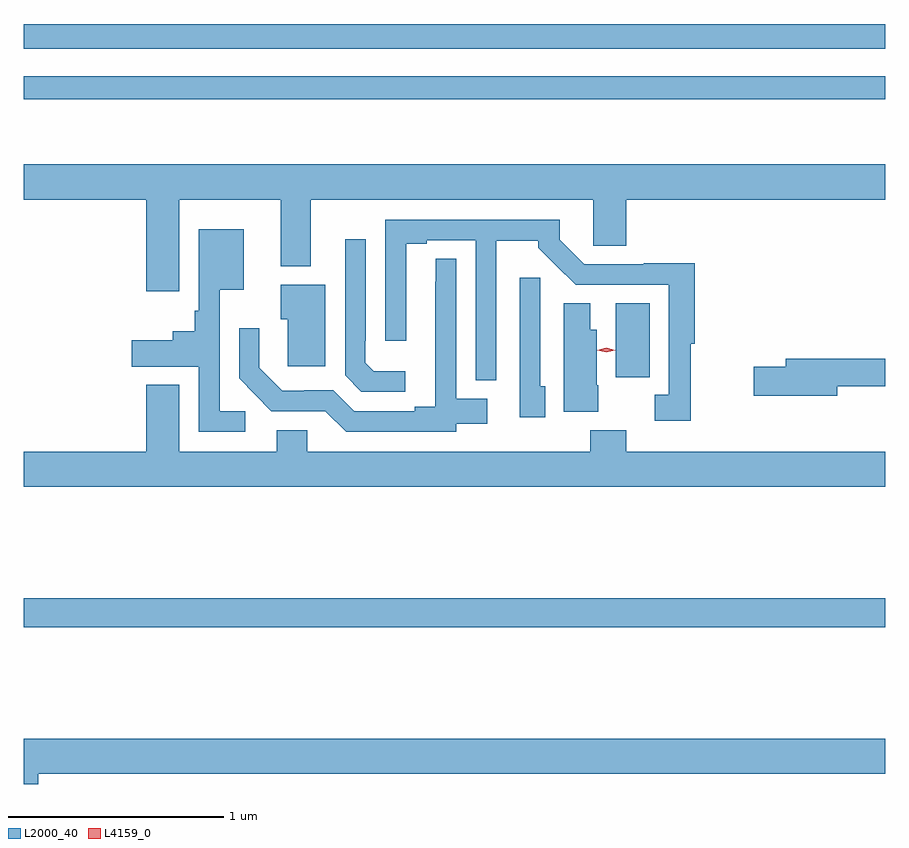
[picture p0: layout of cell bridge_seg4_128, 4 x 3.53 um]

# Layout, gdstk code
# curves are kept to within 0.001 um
import gdstk
lib = gdstk.Library(unit=1e-6, precision=1e-09)
def R(c, l, rs):  # rectangles x0, y0, x1, y1
    for r in rs: c.add(gdstk.rectangle(r[:2], r[2:], *l))
def P(c, l, *ps):  # polygons
    for p in ps: c.add(gdstk.Polygon(p, *l))
L2000_40 = (2000, 40)
L4159_0 = (4159, 0)

bridge_seg4_128 = lib.new_cell('bridge_seg4_128')
R(bridge_seg4_128, L2000_40, [(337.55,765.532,341.55,765.668), (340.298,766.692,340.456,767.036), (337.55,767.982,341.55,768.09), (337.55,768.216,341.55,768.332)])
P(bridge_seg4_128, L2000_40, [(338.272,767.516),(338.744,767.516),(338.744,767.207),(338.884,767.207),(338.884,767.516),(340.194,767.516),(340.194,767.302),(340.346,767.302),(340.346,767.516),(341.55,767.516),(341.55,767.68),(337.55,767.68),(337.55,767.516),(338.12,767.516),(338.12,767.091),(338.272,767.091)],
  [(340.646,766.848),(340.666,766.848),(340.666,767.222),(340.429,767.222),(340.429,767.217),(340.152,767.217),(340.039,767.331),(340.039,767.424),(339.228,767.424),(339.228,766.863),(339.325,766.863),(339.325,767.313),(339.421,767.313),(339.421,767.328),(339.648,767.328),(339.648,766.679),(339.744,766.679),(339.744,767.327),(339.938,767.327),(339.938,767.293),(340.112,767.121),(340.545,767.121),(340.545,766.611),(340.479,766.611),(340.479,766.491),(340.646,766.491)],
  [(338.58,766.536),(338.46,766.536),(338.46,767.099),(338.572,767.099),(338.572,767.38),(338.364,767.38),(338.364,767.002),(338.344,767.002),(338.344,766.906),(338.243,766.906),(338.243,766.864),(338.052,766.864),(338.052,766.742),(338.364,766.742),(338.364,766.44),(338.58,766.44)],
  [(339.322,766.721),(339.176,766.721),(339.135,766.761),(339.135,766.861),(339.138,766.861),(339.138,767.332),(339.042,767.332),(339.042,766.701),(339.117,766.626),(339.322,766.626)],
  [(339.558,766.478),(339.703,766.478),(339.703,766.594),(339.558,766.594),(339.558,767.243),(339.462,767.243),(339.461,766.556),(339.365,766.556),(339.365,766.536),(339.084,766.536),(338.988,766.632),(338.852,766.632),(338.852,766.63),(338.75,766.63),(338.645,766.736),(338.645,766.921),(338.55,766.921),(338.55,766.688),(338.7,766.536),(338.951,766.536),(339.047,766.44),(339.558,766.44)],
  [(339.97,766.65),(339.948,766.65),(339.948,767.155),(339.852,767.155),(339.852,766.506),(339.97,766.506)],
  [(338.95,767.122),(338.744,767.122),(338.744,766.961),(338.777,766.961),(338.777,766.743),(338.95,766.743)],
  [(340.216,766.656),(340.21,766.656),(340.21,766.912),(340.18,766.912),(340.18,767.036),(340.058,767.036),(340.058,766.532),(340.216,766.532)],
  [(341.326,766.65),(341.55,766.65),(341.55,766.778),(341.087,766.778),(341.087,766.742),(340.938,766.742),(340.938,766.607),(341.326,766.607)],
  [(341.55,766.348),(340.346,766.348),(340.346,766.447),(340.181,766.447),(340.181,766.348),(338.866,766.348),(338.866,766.447),(338.726,766.447),(338.726,766.348),(338.272,766.348),(338.272,766.657),(338.12,766.657),(338.12,766.348),(337.55,766.348),(337.55,766.184),(341.55,766.184)],
  [(337.618,764.852),(341.55,764.852),(341.55,765.016),(337.55,765.016),(337.55,764.805),(337.618,764.805)])
P(bridge_seg4_128, L4159_0, [(340.254,766.809),(340.213,766.819),(340.213,766.819),(340.213,766.819),(340.254,766.829),(340.295,766.819),(340.295,766.819),(340.295,766.819)])

lib.write_gds('bridge_seg4_128.gds')
